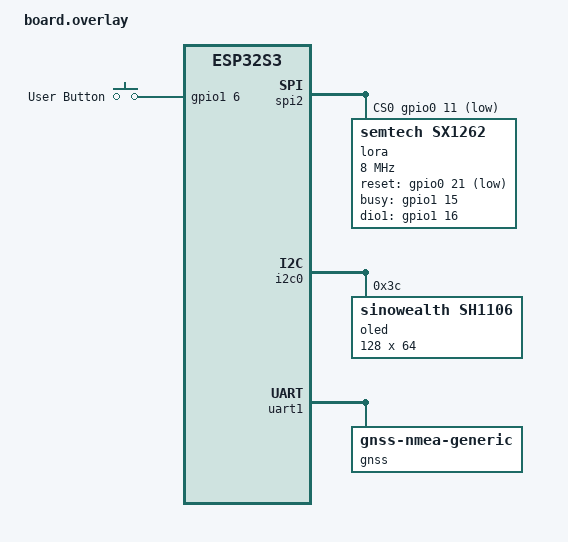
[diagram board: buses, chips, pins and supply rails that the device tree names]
/*
 * SPDX-License-Identifier: MIT
 * BQ Station G2 — ZephCore overlay
 *
 * Adds LoRa radio, display, GPS, button, and filesystem on top of the
 * base board DTS. Pin mapping from Arduino MeshCore variants/station_g2.
 *
 * LoRa SPI2 pins:  SCLK=12, MOSI=13, MISO=14, NSS=11
 * LoRa control:    DIO1=48, RESET=21, BUSY=47
 * Display I2C0:    SDA=5, SCL=6 (SH1106 @ 0x3C)
 * GPS UART1:       TX=7, RX=15
 * Button:          GPIO38
 */

#include <zephyr/dt-bindings/lora/sx126x.h>

/ {
	aliases {
		lora0 = &lora;
		sw0 = &user_button;
	};

	chosen {
		zephyr,display = &oled;
	};

	buttons: buttons {
		compatible = "gpio-keys";
		user_button: user_button {
			gpios = <&gpio1 6 GPIO_ACTIVE_HIGH>;  /* GPIO38 = gpio1 pin 6 */
			label = "User Button";
			zephyr,code = <INPUT_BTN_0>;
		};
	};
};

/* SX1262 + PA on SPI2 */
&spi2 {
	cs-gpios = <&gpio0 11 GPIO_ACTIVE_LOW>;  /* NSS = GPIO11 */

	lora: lora@0 {
		compatible = "semtech,sx1262";
		reg = <0>;
		spi-max-frequency = <8000000>;

		reset-gpios = <&gpio0 21 GPIO_ACTIVE_LOW>;               /* RESET = GPIO21 */
		busy-gpios  = <&gpio1 15 GPIO_ACTIVE_HIGH>;               /* BUSY  = GPIO47 = gpio1 pin 15 */
		dio1-gpios  = <&gpio1 16 (GPIO_PULL_DOWN | GPIO_ACTIVE_HIGH)>;  /* DIO1  = GPIO48 = gpio1 pin 16 */

		/* DIO2 controls RF switch for TX */
		dio2-tx-enable;

		/* TCXO 1.8V via DIO3 */
		dio3-tcxo-voltage = <SX126X_DIO3_TCXO_1V8>;
		tcxo-power-startup-delay-ms = <10>;

		rx-boosted;
	};
};

/* SH1106 128x64 OLED on I2C0 */
&i2c0 {
	oled: sh1106@3c {
		compatible = "sinowealth,sh1106";
		reg = <0x3c>;
		width = <128>;
		height = <64>;
		segment-offset = <2>;
		page-offset = <0>;
		display-offset = <0>;
		multiplex-ratio = <63>;
		prechargep = <0x22>;
		segment-remap;
		com-invdir;
	};

	#include "../../common/sensors-i2c.dtsi"
};

/* GPS on UART1 (already enabled in DTS with 9600 baud) */
&uart1 {
	gnss: gnss-nmea-generic {
		compatible = "gnss-nmea-generic";
	};
};

/*
 * Flash partitions — repartition default ESP32-S3 16 MB layout.
 * Delete unused partitions (lpcore, scratch, coredump) to reclaim space.
 *
 * 0x7E0000 - 0xF9C000 (~7.7MB) OTA image-1 (slot1, trimmed 16KB)
 * 0xF9C000 - 0xFA0000 (16KB)   NVS BLE bonds (storage_partition)
 * 0xFA0000 - 0x1000000 (384KB) LittleFS (identity, contacts, channels)
 *
 * Bonds live in the NVS storage_partition (isolated) instead of /lfs, so
 * settings-write churn can't corrupt identity/prefs/contacts.  The NVS
 * region is carved from the end of slot1 (unused in the default simple-boot
 * build) so lfs_partition stays byte-identical — existing user data survives.
 */
/delete-node/ &slot0_lpcore_partition;
/delete-node/ &slot1_lpcore_partition;
/delete-node/ &storage_partition;
/delete-node/ &scratch_partition;
/delete-node/ &coredump_partition;
/delete-node/ &slot0_partition;
/delete-node/ &slot1_partition;

/ {
	chosen {
		zephyr,settings-partition = &storage_partition;
	};
};

&flash0 {
	partitions {
		/* App slots — both trimmed 8KB so slot0 == slot1 (16KB total freed
		 * for the NVS partition below), keeping MCUboot swap-mode compatible,
		 * not just overwrite-only.  slot0 start (0x20000) unchanged. */
		slot0_partition: partition@20000 {
			label = "image-0";
			reg = <0x20000 0x7BE000>;
		};
		slot1_partition: partition@7de000 {
			label = "image-1";
			reg = <0x7DE000 0x7BE000>;
		};
		/* BLE bond store — 16KB NVS, isolated from /lfs.  label "storage"
		 * so the existing formatter/factory-reset paths erase it too. */
		storage_partition: partition@f9c000 {
			label = "storage";
			reg = <0xF9C000 0x4000>;
		};
		/* LittleFS 384KB for DataStore (identity, prefs, contacts) */
		lfs_partition: partition@fa0000 {
			label = "lfs";
			reg = <0xFA0000 0x60000>;
		};
	};
};

/* LittleFS auto-mount — standard /lfs mount point */
#include "../../common/filesystem.dtsi"

/* USB OTG companion transport. station_g2 consoles over USB Serial/JTAG, which
 * shares D+/D- with USB OTG, so the console is rerouted to uart0. */
#include "../../common/esp32s3_console_uart0.dtsi"
#include "../../common/esp32s3_usb_otg.dtsi"
